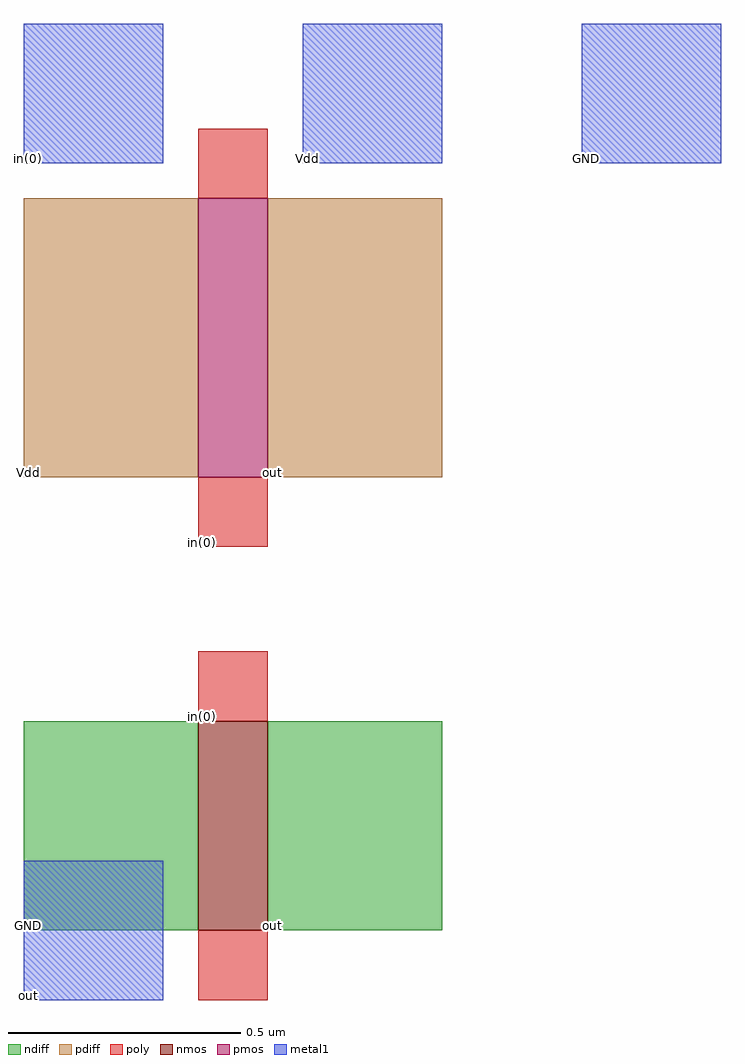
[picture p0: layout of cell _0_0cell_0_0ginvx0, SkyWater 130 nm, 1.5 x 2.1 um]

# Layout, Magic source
magic
tech sky130A
magscale 1 2
<< nmos >>
rect 195 90 225 180
<< pmos >>
rect 195 285 225 405
<< ndiff >>
rect 120 90 195 180
rect 225 90 300 180
<< pdiff >>
rect 120 285 195 405
rect 225 285 300 405
<< poly >>
rect 195 405 225 435
rect 195 255 225 285
rect 195 180 225 210
rect 195 60 225 90
<< metal1 >>
rect 120 420 180 480
rect 240 420 300 480
rect 360 420 420 480
rect 120 60 180 120
<< labels >>
rlabel ndiff 227 92 227 92 3 out
rlabel pdiff 227 287 227 287 3 out
rlabel poly 197 182 197 182 3 in(0)
rlabel poly 197 257 197 257 3 in(0)
rlabel ndiff 122 92 122 92 3 GND
rlabel pdiff 122 287 122 287 3 Vdd
rlabel metal1 362 422 362 422 3 GND
port 1 e
rlabel metal1 242 422 242 422 3 Vdd
port 2 e
rlabel metal1 122 62 122 62 3 out
port 3 e
rlabel metal1 122 422 122 422 3 in(0)
port 4 e
<< end >>
